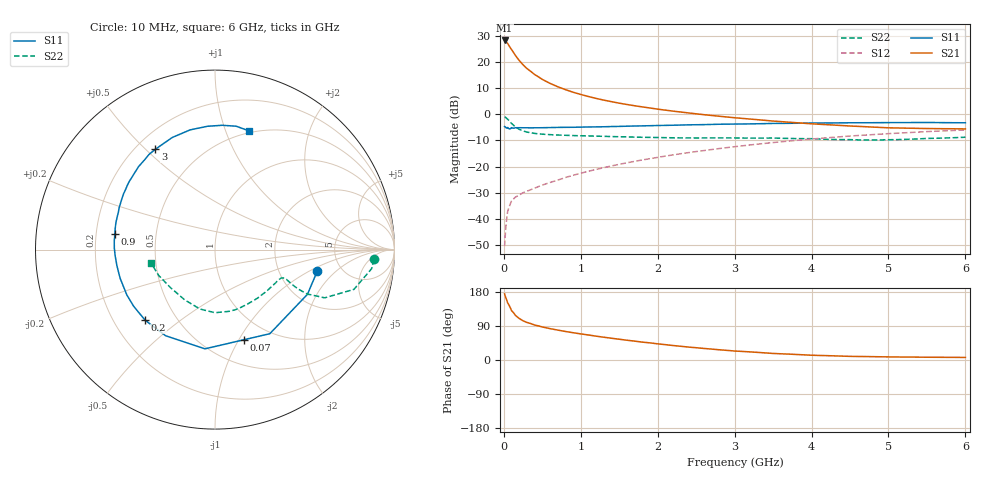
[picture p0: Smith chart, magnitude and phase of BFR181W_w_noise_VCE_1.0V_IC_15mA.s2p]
! Infineon Technologies  Discrete & RF Semiconductors
! BFR181W
! VCE =  1.0 V,  IC =  15 mA
! Common Emitter S-Parameters:  Jan 2017
# GHz  S  MA  R  50
!  f  S11  S21  S12  S22
! GHz  MAG  ANG  MAG  ANG  MAG  ANG  MAG  ANG
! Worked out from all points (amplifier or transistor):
!   77 points, 10 MHz to 6 GHz, reference 50 ohm
!   highest |S21| = 28.3 dB at 10 MHz (marker M1)
!   |S21| within 3 dB of that: start of sweep to 88.66 MHz
!   unconditionally stable (mu >= 1): 298.4 MHz to end of sweep
!   at 130 MHz: K = 0.57, MSG = 27.9 dB, |S12| = -32.3 dB
!   at 2.2 GHz: K = 1.30, MAG = 5.1 dB, |S12| = -15.5 dB
!   at 6 GHz: K = 1.16, MAG = -2.3 dB, |S12| = -6.0 dB
!   lowest NFmin = 1.47 dB at 450 MHz
!   S11 on the Smith chart (normalised r, x): 10 MHz: 3.33, -1.19; 70 MHz: 0.76, -1.05; 200 MHz: 0.33, -0.38; 900 MHz: 0.28, +0.07; 3 GHz: 0.28, +0.54; 6 GHz: 0.48, +1.21
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0.01  0.5827 -11.7  25.85 174.5  0.003 81.3  0.8877 -3.5
0.02  0.5722 -25.8  25.4 167.3  0.0052 81.3  0.8794 -6.9
0.05  0.5594 -56.9  22.62 150.6  0.0139 66.2  0.8049 -16.0
0.07  0.5274 -72.2  20.22 143.7  0.017 61.1  0.7486 -18.7
0.1  0.5557 -95.8  17.33 130.2  0.0219 56.3  0.6681 -23.7
0.15  0.5533 -119.8  13.4 117.9  0.026 51.3  0.5728 -25.7
0.2  0.5534 -134.7  10.69 109.5  0.0285 49.4  0.5154 -25.4
0.25  0.5523 -145.1  8.847 103.5  0.0316 49.5  0.4807 -24.6
0.3  0.5525 -152.7  7.503 99.1  0.0337 50.8  0.4566 -23.7
0.4  0.5522 -163.1  5.764 92.3  0.0386 54.0  0.4304 -22.6
0.5  0.5537 -170.6  4.652 87.2  0.0442 57.6  0.4168 -22.4
0.6  0.5572 -176.3  3.908 82.8  0.0496 60.3  0.4078 -22.7
0.7  0.561 179.2  3.367 79.0  0.055 62.6  0.4013 -23.2
0.9  0.5643 171.2  2.643 72.0  0.0681 66.4  0.392 -25.7
1.1  0.5722 164.7  2.187 66.0  0.0813 68.5  0.3856 -28.7
1.5  0.5865 153.8  1.633 54.8  0.1102 70.5  0.372 -36.4
2.1  0.6134 139.2  1.201 40.5  0.1586 69.8  0.357 -51.3
3  0.6503 120.7  0.859 23.7  0.2398 64.4  0.3531 -76.7
3.1  0.6524 118.7  0.835 22.6  0.2493 63.4  0.3513 -79.3
4.1  0.6816 100.1  0.645 12.0  0.3456 53.2  0.3364 -107.4
5.1  0.6939 85.3  0.548 8.0  0.4341 41.4  0.3277 -142.6
6  0.6881 74.1  0.525 6.8  0.5019 30.6  0.3641 -168.3
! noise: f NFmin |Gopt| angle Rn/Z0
0.45  1.47  0.04  14  0.21
0.9  1.52  0.04  31  0.21
1.9  1.95  0.13  -139  0.22
2.4  2.2  0.16  -109  0.28
